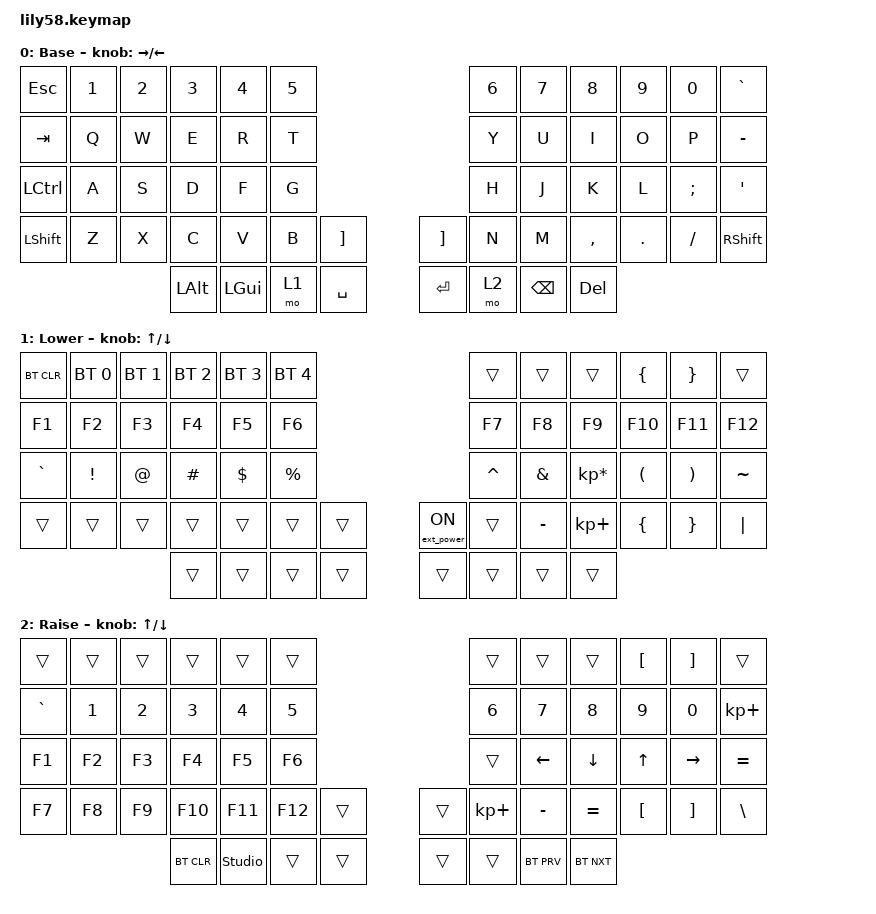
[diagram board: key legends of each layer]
/*
 * Copyright (c) 2020 The ZMK Contributors
 *
 * SPDX-License-Identifier: MIT
 */

#include <behaviors.dtsi>
#include <dt-bindings/zmk/bt.h>
#include <dt-bindings/zmk/keys.h>
#include <dt-bindings/zmk/ext_power.h>

/ {
    left_encoder {
        steps = <36>;
    };

    sensors {
        triggers-per-rotation = <36>;
    };

    keymap {
        compatible = "zmk,keymap";

        default_layer {
            // ------------------------------------------------------------------------------------------------------------
            // |  ESC  |  1  |  2  |  3   |  4   |  5   |                   |  6   |  7    |  8    |  9   |   0   |   `   |
            // |  TAB  |  Q  |  W  |  E   |  R   |  T   |                   |  Y   |  U    |  I    |  O   |   P   |   -   |
            // |  CTRL |  A  |  S  |  D   |  F   |  G   |                   |  H   |  J    |  K    |  L   |   ;   |   '   |
            // | SHIFT |  Z  |  X  |  C   |  V   |  B   |   "["  |  |  "]"  |  N   |  M    |  ,    |  .   |   /   | SHIFT |
            //                     | ALT  | GUI  | LOWER|  SPACE |  | ENTER | RAISE| BSPC  | DELETE |

            label = "Base";
            bindings = <
&kp ESC    &kp N1  &kp N2  &kp N3    &kp N4    &kp N5                                          &kp N6  &kp N7    &kp N8     &kp N9   &kp N0    &kp GRAVE
&kp TAB    &kp Q   &kp W   &kp E     &kp R     &kp T                                           &kp Y   &kp U     &kp I      &kp O    &kp P     &kp MINUS
&kp LCTRL  &kp A   &kp S   &kp D     &kp F     &kp G                                           &kp H   &kp J     &kp K      &kp L    &kp SEMI  &kp SQT
&kp LSHFT  &kp Z   &kp X   &kp C     &kp V     &kp B   &kp RIGHT_BRACKET    &kp RIGHT_BRACKET  &kp N   &kp M     &kp COMMA  &kp DOT  &kp FSLH  &kp RSHFT
                           &kp LALT  &kp LGUI  &mo 1   &kp SPACE            &kp RET            &mo 2   &kp BSPC  &kp DELETE
            >;

            sensor-bindings = <&inc_dec_kp RIGHT_ARROW LEFT_ARROW>;
        };

        lower_layer {
            // ------------------------------------------------------------------------------------------------------------
            // | BTCLR | BT1 | BT2 |  BT3 |  BT4 |  BT5 |                   |      |       |       |  {   |   }   |       |
            // |  F1   |  F2 |  F3 |  F4  |  F5  |  F6  |                   |  F7  |  F8   |  F9   |  F10 |  F11  |  F12  |
            // |   `   |  !  |  @  |  #   |  $   |  %   |                   |  ^   |  &    |  *    |  (   |   )   |   ~   |
            // |       |     |     |      |      |      |        |  | EP_ON|      |  _    |  +    |  {   |   }   |  "|"  |
            //                     |      |      |      |        |  |       |      |       |       |

            label = "Lower";
            bindings = <
&bt BT_CLR  &bt BT_SEL 0  &bt BT_SEL 1  &bt BT_SEL 2  &bt BT_SEL 3  &bt BT_SEL 4                    &trans     &trans     &trans           &kp LBRC  &kp RBRC  &trans
&kp F1      &kp F2        &kp F3        &kp F4        &kp F5        &kp F6                          &kp F7     &kp F8     &kp F9           &kp F10   &kp F11   &kp F12
&kp GRAVE   &kp EXCL      &kp AT        &kp HASH      &kp DOLLAR    &kp PRCNT                       &kp CARET  &kp AMPS   &kp KP_MULTIPLY  &kp LPAR  &kp RPAR  &kp TILDE
&trans      &trans        &trans        &trans        &trans        &trans        &trans    &ext_power EP_ON  &trans     &kp MINUS  &kp KP_PLUS      &kp LBRC  &kp RBRC  &kp PIPE
                                        &trans        &trans        &trans        &trans    &trans  &trans     &trans     &trans
            >;

            sensor-bindings = <&inc_dec_kp UP_ARROW DOWN_ARROW>;
        };

        raise_layer {
            // ------------------------------------------------------------------------------------------------------------
            // |       |     |     |      |      |      |                   |      |       |       |  [   |   ]   |       |
            // |   `   |  1  |  2  |  3   |  4   |  5   |                   |  6   |   7   |   8   |  9   |   0   |   +   |
            // |   F1  |  F2 |  F3 |  F4  |  F5  |  F6  |                   |      |   <-  |   v   |  ^   |  ->   |   =   |
            // |   F7  |  F8 |  F9 |  F10 |  F11 |  F12 |        |  |       |  +   |   -   |   =   |  [   |   ]   |   \   |
            //                     | BT_CLR | STUDIO |   |       |  |       |      | BT_PRV  |  BT_NEXT  |

            label = "Raise";
            bindings = <
&trans     &trans  &trans  &trans      &trans   &trans                     &trans       &trans      &trans      &kp LBKT  &kp RBKT   &trans
&kp GRAVE  &kp N1  &kp N2  &kp N3      &kp N4   &kp N5                     &kp N6       &kp N7      &kp N8      &kp N9    &kp N0     &kp KP_PLUS
&kp F1     &kp F2  &kp F3  &kp F4      &kp F5   &kp F6                     &trans       &kp LEFT    &kp DOWN    &kp UP    &kp RIGHT  &kp EQUAL
&kp F7     &kp F8  &kp F9  &kp F10     &kp F11  &kp F12  &trans    &trans  &kp KP_PLUS  &kp MINUS   &kp EQUAL   &kp LBKT  &kp RBKT   &kp BSLH
                           &bt BT_CLR  &studio_unlock   &trans   &trans    &trans  &trans       &bt BT_PRV  &bt BT_NXT
            >;

            sensor-bindings = <&inc_dec_kp UP_ARROW DOWN_ARROW>;
        };
    };
};

//};
